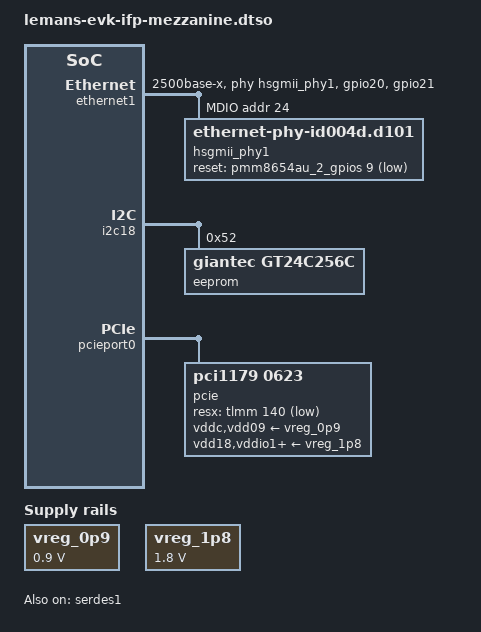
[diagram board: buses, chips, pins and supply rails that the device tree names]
// SPDX-License-Identifier: BSD-3-Clause
/*
 * Copyright (c) Qualcomm Technologies, Inc. and/or its subsidiaries.
 */

/dts-v1/;
/plugin/;

#include <dt-bindings/gpio/gpio.h>

&{/} {
	model = "Qualcomm Technologies, Inc. Lemans-evk IFP Mezzanine";

	vreg_0p9: regulator-0v9 {
		compatible = "regulator-fixed";
		regulator-name = "VREG_0P9";

		regulator-min-microvolt = <900000>;
		regulator-max-microvolt = <900000>;
		regulator-always-on;
		regulator-boot-on;
	};

	vreg_1p8: regulator-1v8 {
		compatible = "regulator-fixed";
		regulator-name = "VREG_1P8";

		regulator-min-microvolt = <1800000>;
		regulator-max-microvolt = <1800000>;
		regulator-always-on;
		regulator-boot-on;
	};
};

&ethernet1 {
	phy-handle = <&hsgmii_phy1>;
	phy-mode = "2500base-x";

	pinctrl-0 = <&ethernet1_default>;
	pinctrl-names = "default";

	snps,mtl-rx-config = <&mtl_rx_setup1>;
	snps,mtl-tx-config = <&mtl_tx_setup1>;

	nvmem-cells = <&mac_addr1>;
	nvmem-cell-names = "mac-address";

	status = "okay";

	mdio {
		compatible = "snps,dwmac-mdio";
		#address-cells = <1>;
		#size-cells = <0>;

		hsgmii_phy1: ethernet-phy@18 {
			compatible = "ethernet-phy-id004d.d101";
			reg = <0x18>;
			reset-gpios = <&pmm8654au_2_gpios 9 GPIO_ACTIVE_LOW>;
			reset-assert-us = <11000>;
			reset-deassert-us = <70000>;
		};
	};

	mtl_rx_setup1: rx-queues-config {
		snps,rx-queues-to-use = <4>;
		snps,rx-sched-sp;

		queue0 {
			snps,dcb-algorithm;
			snps,map-to-dma-channel = <0x0>;
			snps,route-up;
			snps,priority = <0x1>;
		};

		queue1 {
			snps,dcb-algorithm;
			snps,map-to-dma-channel = <0x1>;
			snps,route-ptp;
		};

		queue2 {
			snps,avb-algorithm;
			snps,map-to-dma-channel = <0x2>;
			snps,route-avcp;
		};

		queue3 {
			snps,avb-algorithm;
			snps,map-to-dma-channel = <0x3>;
			snps,priority = <0xc>;
		};
	};

	mtl_tx_setup1: tx-queues-config {
		snps,tx-queues-to-use = <4>;

		queue0 {
			snps,dcb-algorithm;
		};

		queue1 {
			snps,dcb-algorithm;
		};

		queue2 {
			snps,avb-algorithm;
			snps,send_slope = <0x1000>;
			snps,idle_slope = <0x1000>;
			snps,high_credit = <0x3e800>;
			snps,low_credit = <0xffc18000>;
		};

		queue3 {
			snps,avb-algorithm;
			snps,send_slope = <0x1000>;
			snps,idle_slope = <0x1000>;
			snps,high_credit = <0x3e800>;
			snps,low_credit = <0xffc18000>;
		};
	};
};

&i2c18 {
	#address-cells = <1>;
	#size-cells = <0>;

	eeprom@52 {
		compatible = "giantec,gt24c256c", "atmel,24c256";
		reg = <0x52>;
		pagesize = <64>;

		nvmem-layout {
			compatible = "fixed-layout";
			#address-cells = <1>;
			#size-cells = <1>;

			mac_addr1: mac-addr@0 {
				reg = <0x0 0x6>;
			};
		};
	};
};

&pcie0 {
	iommu-map = <0x0 &pcie_smmu 0x0 0x1>,
		    <0x100 &pcie_smmu 0x1 0x1>,
		    <0x208 &pcie_smmu 0x2 0x1>,
		    <0x210 &pcie_smmu 0x3 0x1>,
		    <0x218 &pcie_smmu 0x4 0x1>,
		    <0x300 &pcie_smmu 0x5 0x1>,
		    <0x400 &pcie_smmu 0x6 0x1>,
		    <0x500 &pcie_smmu 0x7 0x1>,
		    <0x501 &pcie_smmu 0x8 0x1>;
};

&pcieport0 {
	#address-cells = <3>;
	#size-cells = <2>;

	pcie@0,0 {
		compatible = "pci1179,0623";
		reg = <0x10000 0x0 0x0 0x0 0x0>;
		#address-cells = <3>;
		#size-cells = <2>;

		device_type = "pci";
		ranges;
		bus-range = <0x2 0xff>;

		vddc-supply = <&vreg_0p9>;
		vdd18-supply = <&vreg_1p8>;
		vdd09-supply = <&vreg_0p9>;
		vddio1-supply = <&vreg_1p8>;
		vddio2-supply = <&vreg_1p8>;
		vddio18-supply = <&vreg_1p8>;

		i2c-parent = <&i2c18 0x77>;

		resx-gpios = <&tlmm 140 GPIO_ACTIVE_LOW>;

		pinctrl-0 = <&tc9563_resx_n>;
		pinctrl-names = "default";

		pcie@1,0 {
			reg = <0x20800 0x0 0x0 0x0 0x0>;
			#address-cells = <3>;
			#size-cells = <2>;

			device_type = "pci";
			ranges;
			bus-range = <0x3 0xff>;
		};

		pcie@2,0 {
			reg = <0x21000 0x0 0x0 0x0 0x0>;
			#address-cells = <3>;
			#size-cells = <2>;

			device_type = "pci";
			ranges;
			bus-range = <0x4 0xff>;
		};

		pcie@3,0 {
			reg = <0x21800 0x0 0x0 0x0 0x0>;
			#address-cells = <3>;
			#size-cells = <2>;
			device_type = "pci";
			ranges;
			bus-range = <0x5 0xff>;

			pci@0,0 {
				reg = <0x50000 0x0 0x0 0x0 0x0>;
				#address-cells = <3>;
				#size-cells = <2>;
				device_type = "pci";
				ranges;
			};

			pci@0,1 {
				reg = <0x50100 0x0 0x0 0x0 0x0>;
				#address-cells = <3>;
				#size-cells = <2>;
				device_type = "pci";
				ranges;
			};
		};
	};
};

&serdes1 {
	phy-supply = <&vreg_l5a>;

	status = "okay";
};

&tlmm {
	ethernet1_default: ethernet1-default-state {
		ethernet1-mdc-pins {
			pins = "gpio20";
			function = "emac1_mdc";
			drive-strength = <16>;
			bias-pull-up;
		};

		ethernet1-mdio-pins {
			pins = "gpio21";
			function = "emac1_mdio";
			drive-strength = <16>;
			bias-pull-up;
		};
	};

	tc9563_resx_n: tc9563-resx-state {
		pins = "gpio140";
		function = "gpio";
		bias-disable;
		/* Reset pin of tc9563 is active low hence set default
		 * state of this pin to output-high.
		 */
		output-high;
	};
};
